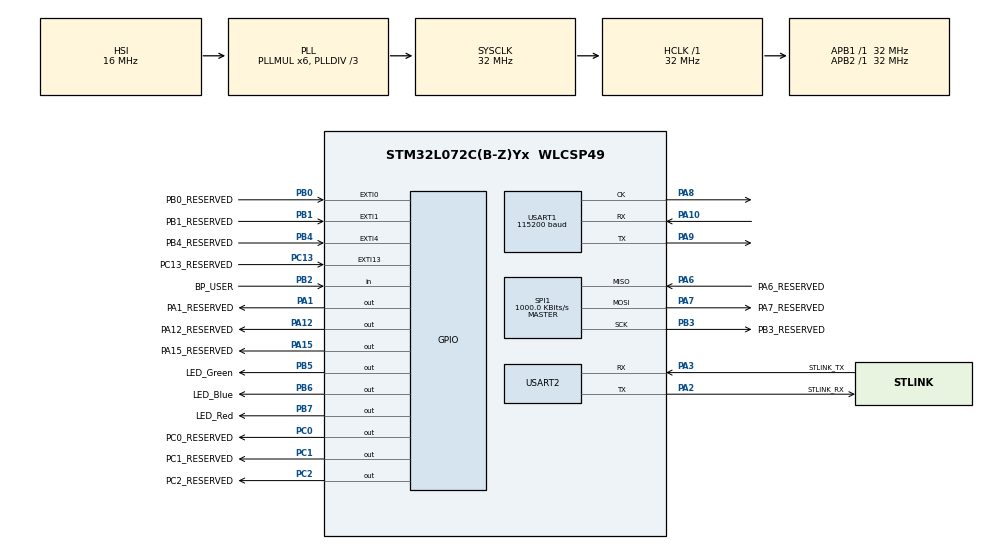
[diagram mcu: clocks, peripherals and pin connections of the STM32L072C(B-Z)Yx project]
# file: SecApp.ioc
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Mcu.Family=STM32L0
Mcu.Name=STM32L072C(B-Z)Yx
Mcu.Package=WLCSP49
NVIC.EXTI0_1_IRQn=true\:0\:0\:false\:false\:true\:true\:true
NVIC.EXTI4_15_IRQn=true\:0\:0\:false\:false\:true\:true\:true
NVIC.RTC_IRQn=true\:0\:0\:false\:false\:true\:true\:true
NVIC.USART2_IRQn=true\:0\:0\:false\:false\:true\:true\:true
PA1.GPIO_Label=PA1_RESERVED
PA1.GPIO_Speed=GPIO_SPEED_FREQ_HIGH
PA1.PinState=GPIO_PIN_RESET
PA1.Signal=GPIO_Output
PA10.Mode=Synchronous
PA10.Signal=USART1_RX
PA12.GPIO_Label=PA12_RESERVED
PA12.GPIO_Speed=GPIO_SPEED_FREQ_HIGH
PA12.Signal=GPIO_Output
PA13.Mode=Serial_Wire
PA13.Signal=SYS_SWDIO
PA14.Mode=Serial_Wire
PA14.Signal=SYS_SWCLK
PA15.GPIO_Label=PA15_RESERVED
PA15.GPIO_Speed=GPIO_SPEED_FREQ_HIGH
PA15.Signal=GPIO_Output
PA2.GPIO_Label=STLINK_RX
PA2.Mode=Asynchronous
PA2.Signal=USART2_TX
PA3.GPIO_Label=STLINK_TX
PA3.Mode=Asynchronous
PA3.Signal=USART2_RX
PA6.GPIO_Label=PA6_RESERVED
PA6.Mode=Full_Duplex_Master
PA6.Signal=SPI1_MISO
PA7.GPIO_Label=PA7_RESERVED
PA7.Mode=Full_Duplex_Master
PA7.Signal=SPI1_MOSI
PA8.Mode=Synchronous
PA8.Signal=USART1_CK
PA9.Mode=Synchronous
PA9.Signal=USART1_TX
PB0.GPIO_Label=PB0_RESERVED
PB0.Signal=GPXTI0
PB1.GPIO_Label=PB1_RESERVED
PB1.Signal=GPXTI1
PB2.GPIO_Label=BP_USER
PB2.GPIO_PuPd=GPIO_PULLDOWN
PB2.Signal=GPIO_Input
PB3.GPIO_Label=PB3_RESERVED
PB3.Mode=Full_Duplex_Master
PB3.Signal=SPI1_SCK
PB4.GPIO_Label=PB4_RESERVED
PB4.Signal=GPXTI4
PB5.GPIO_Label=LED_Green
PB5.GPIO_PuPd=GPIO_PULLDOWN
PB5.Signal=GPIO_Output
PB6.GPIO_Label=LED_Blue
PB6.GPIO_PuPd=GPIO_PULLDOWN
PB6.Signal=GPIO_Output
PB7.GPIO_Label=LED_Red
PB7.GPIO_PuPd=GPIO_PULLDOWN
PB7.Signal=GPIO_Output
PC0.GPIO_Label=PC0_RESERVED
PC0.GPIO_Speed=GPIO_SPEED_FREQ_HIGH
PC0.Signal=GPIO_Output
PC1.GPIO_Label=PC1_RESERVED
PC1.GPIO_Speed=GPIO_SPEED_FREQ_HIGH
PC1.Signal=GPIO_Output
PC13.GPIO_Label=PC13_RESERVED
PC13.Signal=GPXTI13
PC2.GPIO_Label=PC2_RESERVED
PC2.GPIO_Speed=GPIO_SPEED_FREQ_HIGH
PC2.Signal=GPIO_Output
PH0-OSC_IN.Signal=RCC_OSC_IN
PH1-OSC_OUT.Signal=RCC_OSC_OUT
ProjectManager.HeapSize=0x200
ProjectManager.StackSize=0x400
ProjectManager.TargetToolchain=STM32CubeIDE
RCC.AHBFreq_Value=32000000
RCC.APB1Freq_Value=32000000
RCC.APB1TimFreq_Value=32000000
RCC.APB2Freq_Value=32000000
RCC.APB2TimFreq_Value=32000000
RCC.HCLKFreq_Value=32000000
RCC.HSE_VALUE=8000000
RCC.HSI16_VALUE=16000000
RCC.HSI48_VALUE=48000000
RCC.HSI_VALUE=16000000
RCC.LSE_VALUE=32768
RCC.MSI_VALUE=2097000
RCC.PLLDIV=RCC_PLLDIV_3
RCC.PLLMUL=RCC_PLLMUL_6
RCC.SYSCLKFreq_VALUE=32000000
RCC.SYSCLKSource=RCC_SYSCLKSOURCE_PLLCLK
RCC.VCOOutputFreq_Value=96000000
RTC.Alarm-Alarm\ A=RTC_ALARM_A
RTC.AlarmSubSecondMask-Alarm\ A=RTC_ALARMSUBSECONDMASK_NONE
RTC.AsynchPrediv=31
RTC.Format=RTC_FORMAT_BIN
RTC.SynchPrediv=1023
SPI1.BaudRatePrescaler=SPI_BAUDRATEPRESCALER_32
SPI1.CalculateBaudRate=1000.0 KBits/s
SPI1.Direction=SPI_DIRECTION_2LINES
SPI1.Mode=SPI_MODE_MASTER
SPI1.VirtualType=VM_MASTER
USART1.BaudRate=115200
USART1.VirtualMode-Synchronous=VM_SYNC
USART2.VirtualMode-Asynchronous=VM_ASYNC
VP_RTC_VS_RTC_Activate.Mode=RTC_Enabled
VP_RTC_VS_RTC_Alarm_A_Intern.Mode=Alarm A
VP_RTC_VS_RTC_Calendar.Mode=RTC_Calendar
board=B-L072Z-LRWAN1

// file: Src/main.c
/* USER CODE BEGIN Header */
/**
  ******************************************************************************
  * @file           : main.c
  * @brief          : Main program body
  ******************************************************************************
  * @attention
  *
  * <h2><center>&copy; Copyright (c) 2019 STMicroelectronics.
  * All rights reserved.</center></h2>
  *
  * This software component is licensed by ST under BSD 3-Clause license,
  * the "License"; You may not use this file except in compliance with the
  * License. You may obtain a copy of the License at:
  *                        opensource.org/licenses/BSD-3-Clause
  *
  ******************************************************************************
  */
/* USER CODE END Header */

#include "main.h"

/* USER CODE BEGIN Includes */
#include "MySecret/MySecret.h"
/* USER CODE END Includes */

/* USER CODE BEGIN PD */
//#define NOT_SECRET_KEY	{0x2B, 0x7E, 0x15, 0x16, 0x28, 0xAE, 0xD2, 0xA6, 0xAB, 0xF7, 0x15, 0x88, 0x09, 0xCF, 0x4F, 0x3C}
/* USER CODE END PD */

RTC_HandleTypeDef hrtc;

SPI_HandleTypeDef hspi1;

USART_HandleTypeDef husart1;
UART_HandleTypeDef huart2;

/* USER CODE BEGIN PV */
FLASH_OBProgramInitTypeDef myconf;	//Option bytes config perso for RDP
FLASH_AdvOBProgramInitTypeDef myconfAdv;

uint8_t buffer[2];
int NOT_SECRET_KEY[16]	= {0x2B, 0x7E, 0x15, 0x16, 0x28, 0xAE, 0xD2, 0xA6, 0xAB, 0xF7, 0x15, 0x88, 0x09, 0xCF, 0x4F, 0x3C};
unsigned char useless = 0;
unsigned int* data;
unsigned int* pI;

/* USER CODE END PV */

void SystemClock_Config(void);
static void MX_GPIO_Init(void);
static void MX_RTC_Init(void);
static void MX_SPI1_Init(void);
static void MX_USART1_Init(void);
static void MX_USART2_UART_Init(void);

int main(void)
{

  /* MCU Configuration--------------------------------------------------------*/

  /* Reset of all peripherals, Initializes the Flash interface and the Systick. */
  HAL_Init();

  /* USER CODE BEGIN Init */
  //HAL_GPIO_WritePin(LED_Red_GPIO_Port, LED_Red_Pin, 0);

  //HAL_GPIO_WritePin(LED_Blue_GPIO_Port, LED_Blue_Pin, 0);
  /* USER CODE END Init */

  /* Configure the system clock */
  SystemClock_Config();

  /* USER CODE BEGIN SysInit */

  // Implémentation de RDP

  if (HAL_FLASH_Unlock() == HAL_OK){

	  if(HAL_FLASH_OB_Unlock() == HAL_OK){
		  //Recuperation des anciens valeurs des registres
		  HAL_FLASHEx_OBGetConfig(&myconf);
		  HAL_FLASHEx_AdvOBGetConfig(&myconfAdv);

		  if(myconf.RDPLevel == OB_RDP_LEVEL0){
		  //if(myconfAdv.PCROPSector != OB_PCROP_Pages160to191){

			  HAL_FLASHEx_OB_SelectPCROP();
			  myconfAdv.PCROPSector = OB_WRP_AllPages ^ OB_PCROP_Pages160to191;
			  myconfAdv.PCROPSector2 = OB_WRP2_AllPages;
			  myconfAdv.PCROPState = OB_PCROP_STATE_ENABLE;
		  	  myconf.RDPLevel = OB_RDP_LEVEL1;	//Mettre à 1 pour avoir le niveau 1

		  	  HAL_FLASHEx_AdvOBProgram(&myconfAdv);
		  	  HAL_FLASHEx_OBProgram(&myconf);

		  	  HAL_FLASH_OB_Launch();
		  	  HAL_FLASH_OB_Lock();

		  }

	  }
	  HAL_FLASH_Lock();
  }

  //HAL_GPIO_WritePin(LED_Green_GPIO_Port, LED_Green_Pin, 1);
  /* USER CODE END SysInit */

  /* Initialize all configured peripherals */
  MX_GPIO_Init();
  MX_RTC_Init();
  MX_SPI1_Init();
  MX_USART1_Init();
  MX_USART2_UART_Init();
  /* USER CODE BEGIN 2 */

  HAL_GPIO_WritePin(LED_Blue_GPIO_Port, LED_Blue_Pin, 0);
  HAL_GPIO_WritePin(LED_Green_GPIO_Port, LED_Green_Pin, 0);
  HAL_GPIO_WritePin(LED_Red_GPIO_Port, LED_Red_Pin, 0);

  for (int i = 0; i < 16; i++ ){

	  buffer[0] = NOT_SECRET_KEY[i];

	  buffer[1] = '\n';
	  HAL_USART_Transmit(&husart1, buffer, sizeof(buffer), 1000);
  }

  /* USER CODE END 2 */

  /* Infinite loop */
  /* USER CODE BEGIN WHILE */
  while (1)
  {

	  HAL_Delay(1000);
	  if (HAL_GPIO_ReadPin(BP_USER_GPIO_Port, BP_USER_Pin) == 0){
		  HAL_GPIO_WritePin(LED_Blue_GPIO_Port, LED_Blue_Pin, 0);
		  HAL_GPIO_WritePin(LED_Green_GPIO_Port, LED_Green_Pin, 0);
		  HAL_GPIO_WritePin(LED_Red_GPIO_Port, LED_Red_Pin, 0);
		  useless = MySecret_fct(useless+1);
	  }
	  else{
		  HAL_Delay(1000);
		  HAL_GPIO_TogglePin(LED_Green_GPIO_Port, LED_Green_Pin);
		  HAL_Delay(500);
		  HAL_GPIO_TogglePin(LED_Blue_GPIO_Port, LED_Blue_Pin);
		  HAL_Delay(300);
		  HAL_GPIO_TogglePin(LED_Red_GPIO_Port, LED_Red_Pin);
		  HAL_Delay(200);

	  }

    /* USER CODE END WHILE */

  }
}

void SystemClock_Config(void)
{
  RCC_OscInitTypeDef RCC_OscInitStruct = {0};
  RCC_ClkInitTypeDef RCC_ClkInitStruct = {0};
  RCC_PeriphCLKInitTypeDef PeriphClkInit = {0};

  /** Configure the main internal regulator output voltage
  */
  __HAL_PWR_VOLTAGESCALING_CONFIG(PWR_REGULATOR_VOLTAGE_SCALE1);
  /** Initializes the CPU, AHB and APB busses clocks
  */
  RCC_OscInitStruct.OscillatorType = RCC_OSCILLATORTYPE_HSI|RCC_OSCILLATORTYPE_LSI;
  RCC_OscInitStruct.HSIState = RCC_HSI_ON;
  RCC_OscInitStruct.HSICalibrationValue = RCC_HSICALIBRATION_DEFAULT;
  RCC_OscInitStruct.LSIState = RCC_LSI_ON;
  RCC_OscInitStruct.PLL.PLLState = RCC_PLL_ON;
  RCC_OscInitStruct.PLL.PLLSource = RCC_PLLSOURCE_HSI;
  RCC_OscInitStruct.PLL.PLLMUL = RCC_PLLMUL_6;
  RCC_OscInitStruct.PLL.PLLDIV = RCC_PLLDIV_3;
  if (HAL_RCC_OscConfig(&RCC_OscInitStruct) != HAL_OK)
  {
    Error_Handler();
  }
  /** Initializes the CPU, AHB and APB busses clocks
  */
  RCC_ClkInitStruct.ClockType = RCC_CLOCKTYPE_HCLK|RCC_CLOCKTYPE_SYSCLK
                              |RCC_CLOCKTYPE_PCLK1|RCC_CLOCKTYPE_PCLK2;
  RCC_ClkInitStruct.SYSCLKSource = RCC_SYSCLKSOURCE_PLLCLK;
  RCC_ClkInitStruct.AHBCLKDivider = RCC_SYSCLK_DIV1;
  RCC_ClkInitStruct.APB1CLKDivider = RCC_HCLK_DIV1;
  RCC_ClkInitStruct.APB2CLKDivider = RCC_HCLK_DIV1;

  if (HAL_RCC_ClockConfig(&RCC_ClkInitStruct, FLASH_LATENCY_1) != HAL_OK)
  {
    Error_Handler();
  }
  PeriphClkInit.PeriphClockSelection = RCC_PERIPHCLK_USART1|RCC_PERIPHCLK_USART2
                              |RCC_PERIPHCLK_RTC;
  PeriphClkInit.Usart1ClockSelection = RCC_USART1CLKSOURCE_PCLK2;
  PeriphClkInit.Usart2ClockSelection = RCC_USART2CLKSOURCE_PCLK1;
  PeriphClkInit.RTCClockSelection = RCC_RTCCLKSOURCE_LSI;
  if (HAL_RCCEx_PeriphCLKConfig(&PeriphClkInit) != HAL_OK)
  {
    Error_Handler();
  }
}

static void MX_RTC_Init(void)
{

  RTC_TimeTypeDef sTime = {0};
  RTC_DateTypeDef sDate = {0};
  RTC_AlarmTypeDef sAlarm = {0};

  /** Initialize RTC Only
  */
  hrtc.Instance = RTC;
  hrtc.Init.HourFormat = RTC_HOURFORMAT_24;
  hrtc.Init.AsynchPrediv = 31;
  hrtc.Init.SynchPrediv = 1023;
  hrtc.Init.OutPut = RTC_OUTPUT_DISABLE;
  hrtc.Init.OutPutRemap = RTC_OUTPUT_REMAP_NONE;
  hrtc.Init.OutPutPolarity = RTC_OUTPUT_POLARITY_HIGH;
  hrtc.Init.OutPutType = RTC_OUTPUT_TYPE_OPENDRAIN;
  if (HAL_RTC_Init(&hrtc) != HAL_OK)
  {
    Error_Handler();
  }

  /** Initialize RTC and set the Time and Date
  */
  sTime.Hours = 0;
  sTime.Minutes = 0;
  sTime.Seconds = 0;
  sTime.DayLightSaving = RTC_DAYLIGHTSAVING_NONE;
  sTime.StoreOperation = RTC_STOREOPERATION_RESET;
  if (HAL_RTC_SetTime(&hrtc, &sTime, RTC_FORMAT_BIN) != HAL_OK)
  {
    Error_Handler();
  }
  sDate.WeekDay = RTC_WEEKDAY_MONDAY;
  sDate.Month = RTC_MONTH_JANUARY;
  sDate.Date = 1;
  sDate.Year = 0;

  if (HAL_RTC_SetDate(&hrtc, &sDate, RTC_FORMAT_BIN) != HAL_OK)
  {
    Error_Handler();
  }
  /** Enable the Alarm A
  */
  sAlarm.AlarmTime.Hours = 0;
  sAlarm.AlarmTime.Minutes = 0;
  sAlarm.AlarmTime.Seconds = 0;
  sAlarm.AlarmTime.SubSeconds = 0;
  sAlarm.AlarmTime.DayLightSaving = RTC_DAYLIGHTSAVING_NONE;
  sAlarm.AlarmTime.StoreOperation = RTC_STOREOPERATION_RESET;
  sAlarm.AlarmMask = RTC_ALARMMASK_NONE;
  sAlarm.AlarmSubSecondMask = RTC_ALARMSUBSECONDMASK_NONE;
  sAlarm.AlarmDateWeekDaySel = RTC_ALARMDATEWEEKDAYSEL_DATE;
  sAlarm.AlarmDateWeekDay = 1;
  sAlarm.Alarm = RTC_ALARM_A;
  if (HAL_RTC_SetAlarm_IT(&hrtc, &sAlarm, RTC_FORMAT_BIN) != HAL_OK)
  {
    Error_Handler();
  }

}

static void MX_SPI1_Init(void)
{

  /* SPI1 parameter configuration*/
  hspi1.Instance = SPI1;
  hspi1.Init.Mode = SPI_MODE_MASTER;
  hspi1.Init.Direction = SPI_DIRECTION_2LINES;
  hspi1.Init.DataSize = SPI_DATASIZE_8BIT;
  hspi1.Init.CLKPolarity = SPI_POLARITY_LOW;
  hspi1.Init.CLKPhase = SPI_PHASE_1EDGE;
  hspi1.Init.NSS = SPI_NSS_SOFT;
  hspi1.Init.BaudRatePrescaler = SPI_BAUDRATEPRESCALER_32;
  hspi1.Init.FirstBit = SPI_FIRSTBIT_MSB;
  hspi1.Init.TIMode = SPI_TIMODE_DISABLE;
  hspi1.Init.CRCCalculation = SPI_CRCCALCULATION_DISABLE;
  hspi1.Init.CRCPolynomial = 7;
  if (HAL_SPI_Init(&hspi1) != HAL_OK)
  {
    Error_Handler();
  }

}

static void MX_USART1_Init(void)
{

  husart1.Instance = USART1;
  husart1.Init.BaudRate = 115200;
  husart1.Init.WordLength = USART_WORDLENGTH_8B;
  husart1.Init.StopBits = USART_STOPBITS_1;
  husart1.Init.Parity = USART_PARITY_NONE;
  husart1.Init.Mode = USART_MODE_TX_RX;
  husart1.Init.CLKPolarity = USART_POLARITY_LOW;
  husart1.Init.CLKPhase = USART_PHASE_1EDGE;
  husart1.Init.CLKLastBit = USART_LASTBIT_DISABLE;
  if (HAL_USART_Init(&husart1) != HAL_OK)
  {
    Error_Handler();
  }

}

static void MX_USART2_UART_Init(void)
{

  huart2.Instance = USART2;
  huart2.Init.BaudRate = 115200;
  huart2.Init.WordLength = UART_WORDLENGTH_8B;
  huart2.Init.StopBits = UART_STOPBITS_1;
  huart2.Init.Parity = UART_PARITY_NONE;
  huart2.Init.Mode = UART_MODE_TX_RX;
  huart2.Init.HwFlowCtl = UART_HWCONTROL_NONE;
  huart2.Init.OverSampling = UART_OVERSAMPLING_16;
  huart2.Init.OneBitSampling = UART_ONE_BIT_SAMPLE_DISABLE;
  huart2.AdvancedInit.AdvFeatureInit = UART_ADVFEATURE_NO_INIT;
  if (HAL_UART_Init(&huart2) != HAL_OK)
  {
    Error_Handler();
  }

}

static void MX_GPIO_Init(void)
{
  GPIO_InitTypeDef GPIO_InitStruct = {0};

  /* GPIO Ports Clock Enable */
  __HAL_RCC_GPIOA_CLK_ENABLE();
  __HAL_RCC_GPIOB_CLK_ENABLE();
  __HAL_RCC_GPIOC_CLK_ENABLE();
  __HAL_RCC_GPIOH_CLK_ENABLE();

  /*Configure GPIO pin Output Level */
  HAL_GPIO_WritePin(GPIOA, PA15_RESERVED_Pin|PA12_RESERVED_Pin|PA1_RESERVED_Pin, GPIO_PIN_RESET);

  /*Configure GPIO pin Output Level */
  HAL_GPIO_WritePin(GPIOB, LED_Green_Pin|LED_Blue_Pin|LED_Red_Pin, GPIO_PIN_RESET);

  /*Configure GPIO pin Output Level */
  HAL_GPIO_WritePin(GPIOC, PC1_RESERVED_Pin|PC0_RESERVED_Pin|PC2_RESERVED_Pin, GPIO_PIN_RESET);

  /*Configure GPIO pins : PA15_RESERVED_Pin PA12_RESERVED_Pin PA1_RESERVED_Pin */
  GPIO_InitStruct.Pin = PA15_RESERVED_Pin|PA12_RESERVED_Pin|PA1_RESERVED_Pin;
  GPIO_InitStruct.Mode = GPIO_MODE_OUTPUT_PP;
  GPIO_InitStruct.Pull = GPIO_NOPULL;
  GPIO_InitStruct.Speed = GPIO_SPEED_FREQ_HIGH;
  HAL_GPIO_Init(GPIOA, &GPIO_InitStruct);

  /*Configure GPIO pins : LED_Green_Pin LED_Blue_Pin LED_Red_Pin */
  GPIO_InitStruct.Pin = LED_Green_Pin|LED_Blue_Pin|LED_Red_Pin;
  GPIO_InitStruct.Mode = GPIO_MODE_OUTPUT_PP;
  GPIO_InitStruct.Pull = GPIO_PULLDOWN;
  GPIO_InitStruct.Speed = GPIO_SPEED_FREQ_LOW;
  HAL_GPIO_Init(GPIOB, &GPIO_InitStruct);

  /*Configure GPIO pins : PB4_RESERVED_Pin PB1_RESERVED_Pin PB0_RESERVED_Pin */
  GPIO_InitStruct.Pin = PB4_RESERVED_Pin|PB1_RESERVED_Pin|PB0_RESERVED_Pin;
  GPIO_InitStruct.Mode = GPIO_MODE_IT_RISING;
  GPIO_InitStruct.Pull = GPIO_NOPULL;
  HAL_GPIO_Init(GPIOB, &GPIO_InitStruct);

  /*Configure GPIO pin : PC13_RESERVED_Pin */
  GPIO_InitStruct.Pin = PC13_RESERVED_Pin;
  GPIO_InitStruct.Mode = GPIO_MODE_IT_RISING;
  GPIO_InitStruct.Pull = GPIO_NOPULL;
  HAL_GPIO_Init(PC13_RESERVED_GPIO_Port, &GPIO_InitStruct);

  /*Configure GPIO pins : PC1_RESERVED_Pin PC0_RESERVED_Pin PC2_RESERVED_Pin */
  GPIO_InitStruct.Pin = PC1_RESERVED_Pin|PC0_RESERVED_Pin|PC2_RESERVED_Pin;
  GPIO_InitStruct.Mode = GPIO_MODE_OUTPUT_PP;
  GPIO_InitStruct.Pull = GPIO_NOPULL;
  GPIO_InitStruct.Speed = GPIO_SPEED_FREQ_HIGH;
  HAL_GPIO_Init(GPIOC, &GPIO_InitStruct);

  /*Configure GPIO pin : BP_USER_Pin */
  GPIO_InitStruct.Pin = BP_USER_Pin;
  GPIO_InitStruct.Mode = GPIO_MODE_INPUT;
  GPIO_InitStruct.Pull = GPIO_PULLDOWN;
  HAL_GPIO_Init(BP_USER_GPIO_Port, &GPIO_InitStruct);

  /* EXTI interrupt init*/
  HAL_NVIC_SetPriority(EXTI0_1_IRQn, 0, 0);
  HAL_NVIC_EnableIRQ(EXTI0_1_IRQn);

  HAL_NVIC_SetPriority(EXTI4_15_IRQn, 0, 0);
  HAL_NVIC_EnableIRQ(EXTI4_15_IRQn);

}

void Error_Handler(void)
{
}

/************************ (C) COPYRIGHT STMicroelectronics *****END OF FILE****/
